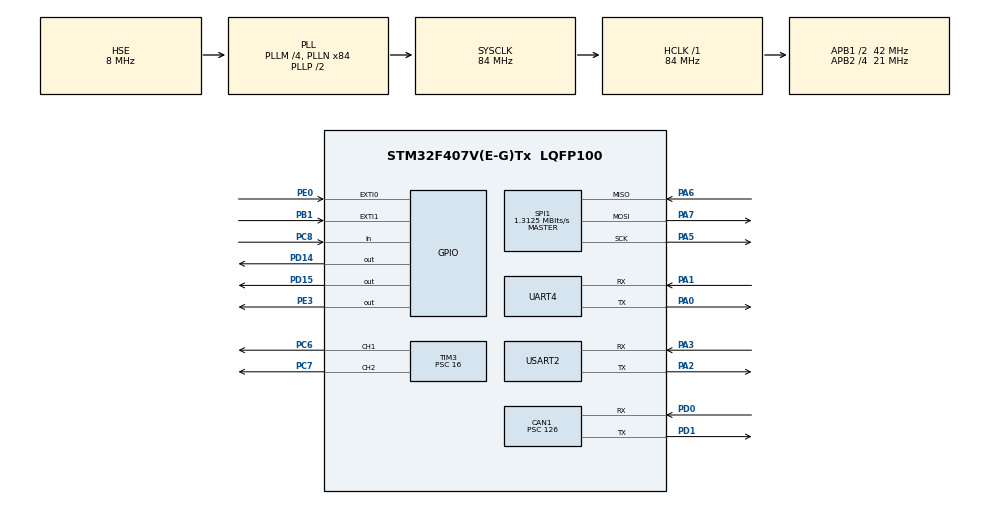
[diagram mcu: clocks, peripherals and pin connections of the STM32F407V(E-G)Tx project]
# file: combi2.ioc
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CAN1.BS1=CAN_BS1_12TQ
CAN1.BS2=CAN_BS2_4TQ
CAN1.CalculateTimeQuantum=3000.0
CAN1.Prescaler=126
Dma.Request0=USART2_RX
Dma.Request1=USART2_TX
Dma.Request2=UART4_RX
Dma.Request3=UART4_TX
Dma.UART4_RX.2.Direction=DMA_PERIPH_TO_MEMORY
Dma.UART4_RX.2.FIFOMode=DMA_FIFOMODE_DISABLE
Dma.UART4_RX.2.Instance=DMA1_Stream2
Dma.UART4_RX.2.MemDataAlignment=DMA_MDATAALIGN_BYTE
Dma.UART4_RX.2.MemInc=DMA_MINC_ENABLE
Dma.UART4_RX.2.Mode=DMA_NORMAL
Dma.UART4_RX.2.PeriphDataAlignment=DMA_PDATAALIGN_BYTE
Dma.UART4_RX.2.PeriphInc=DMA_PINC_DISABLE
Dma.UART4_RX.2.Priority=DMA_PRIORITY_LOW
Dma.UART4_TX.3.Direction=DMA_MEMORY_TO_PERIPH
Dma.UART4_TX.3.FIFOMode=DMA_FIFOMODE_DISABLE
Dma.UART4_TX.3.Instance=DMA1_Stream4
Dma.UART4_TX.3.MemDataAlignment=DMA_MDATAALIGN_BYTE
Dma.UART4_TX.3.MemInc=DMA_MINC_ENABLE
Dma.UART4_TX.3.Mode=DMA_NORMAL
Dma.UART4_TX.3.PeriphDataAlignment=DMA_PDATAALIGN_BYTE
Dma.UART4_TX.3.PeriphInc=DMA_PINC_DISABLE
Dma.UART4_TX.3.Priority=DMA_PRIORITY_LOW
Dma.USART2_RX.0.Direction=DMA_PERIPH_TO_MEMORY
Dma.USART2_RX.0.FIFOMode=DMA_FIFOMODE_DISABLE
Dma.USART2_RX.0.Instance=DMA1_Stream5
Dma.USART2_RX.0.MemDataAlignment=DMA_MDATAALIGN_BYTE
Dma.USART2_RX.0.MemInc=DMA_MINC_ENABLE
Dma.USART2_RX.0.Mode=DMA_NORMAL
Dma.USART2_RX.0.PeriphDataAlignment=DMA_PDATAALIGN_BYTE
Dma.USART2_RX.0.PeriphInc=DMA_PINC_DISABLE
Dma.USART2_RX.0.Priority=DMA_PRIORITY_LOW
Dma.USART2_TX.1.Direction=DMA_MEMORY_TO_PERIPH
Dma.USART2_TX.1.FIFOMode=DMA_FIFOMODE_DISABLE
Dma.USART2_TX.1.Instance=DMA1_Stream6
Dma.USART2_TX.1.MemDataAlignment=DMA_MDATAALIGN_BYTE
Dma.USART2_TX.1.MemInc=DMA_MINC_ENABLE
Dma.USART2_TX.1.Mode=DMA_NORMAL
Dma.USART2_TX.1.PeriphDataAlignment=DMA_PDATAALIGN_BYTE
Dma.USART2_TX.1.PeriphInc=DMA_PINC_DISABLE
Dma.USART2_TX.1.Priority=DMA_PRIORITY_LOW
FREERTOS.Tasks01=DefaultTask,24,128,StartDefaultTask,Default,NULL,Dynamic,NULL,NULL;SPI_Task,8,128,StartTask02,Default,NULL,Dynamic,NULL,NULL;Can_Tx,8,128,StartTask03,Default,NULL,Dynamic,NULL,NULL
FREERTOS.Timers01=myTimer01,Callback01,osTimerPeriodic,Default,NULL,Dynamic,NULL
Mcu.Family=STM32F4
Mcu.Name=STM32F407V(E-G)Tx
Mcu.Package=LQFP100
NVIC.CAN1_RX0_IRQn=true\:5\:0\:false\:false\:true\:true\:true\:true
NVIC.DMA1_Stream2_IRQn=true\:5\:0\:false\:false\:true\:true\:false\:true
NVIC.DMA1_Stream4_IRQn=true\:5\:0\:false\:false\:true\:true\:false\:true
NVIC.DMA1_Stream5_IRQn=true\:5\:0\:false\:false\:true\:true\:false\:true
NVIC.DMA1_Stream6_IRQn=true\:5\:0\:false\:false\:true\:true\:false\:true
NVIC.EXTI0_IRQn=true\:5\:0\:false\:false\:true\:true\:true\:true
NVIC.PriorityGroup=NVIC_PRIORITYGROUP_4
NVIC.TIM1_UP_TIM10_IRQn=true\:0\:0\:false\:false\:true\:false\:false\:true
NVIC.TimeBase=TIM1_UP_TIM10_IRQn
NVIC.TimeBaseIP=TIM1
PA0-WKUP.Mode=Asynchronous
PA0-WKUP.Signal=UART4_TX
PA1.Mode=Asynchronous
PA1.Signal=UART4_RX
PA13.Mode=Serial_Wire
PA13.Signal=SYS_JTMS-SWDIO
PA14.Mode=Serial_Wire
PA14.Signal=SYS_JTCK-SWCLK
PA2.Mode=Asynchronous
PA2.Signal=USART2_TX
PA3.Mode=Asynchronous
PA3.Signal=USART2_RX
PA5.Mode=Full_Duplex_Master
PA5.Signal=SPI1_SCK
PA6.Mode=Full_Duplex_Master
PA6.Signal=SPI1_MISO
PA7.Mode=Full_Duplex_Master
PA7.Signal=SPI1_MOSI
PB1.Signal=GPXTI1
PC6.Signal=S_TIM3_CH1
PC7.Signal=S_TIM3_CH2
PC8.Signal=GPIO_Input
PD0.Mode=Master
PD0.Signal=CAN1_RX
PD1.Mode=Master
PD1.Signal=CAN1_TX
PD14.Signal=GPIO_Output
PD15.Signal=GPIO_Output
PE0.Signal=GPXTI0
PE3.Signal=GPIO_Output
PH0-OSC_IN.Mode=HSE-External-Oscillator
PH0-OSC_IN.Signal=RCC_OSC_IN
PH1-OSC_OUT.Mode=HSE-External-Oscillator
PH1-OSC_OUT.Signal=RCC_OSC_OUT
ProjectManager.HeapSize=0x200
ProjectManager.StackSize=0x400
ProjectManager.TargetToolchain=TrueSTUDIO
RCC.48MHZClocksFreq_Value=24000000
RCC.AHBFreq_Value=84000000
RCC.APB1CLKDivider=RCC_HCLK_DIV2
RCC.APB1Freq_Value=42000000
RCC.APB1TimFreq_Value=84000000
RCC.APB2CLKDivider=RCC_HCLK_DIV4
RCC.APB2Freq_Value=21000000
RCC.APB2TimFreq_Value=42000000
RCC.CortexFreq_Value=84000000
RCC.HCLKFreq_Value=84000000
RCC.HSE_VALUE=8000000
RCC.HSI_VALUE=16000000
RCC.LSE_VALUE=32768
RCC.PLLM=4
RCC.PLLN=84
RCC.PLLQ=7
RCC.PLLSourceVirtual=RCC_PLLSOURCE_HSE
RCC.SYSCLKFreq_VALUE=84000000
RCC.SYSCLKSource=RCC_SYSCLKSOURCE_PLLCLK
RCC.VCOOutputFreq_Value=168000000
SH.S_TIM3_CH1.0=TIM3_CH1,PWM Generation1 CH1
SH.S_TIM3_CH2.0=TIM3_CH2,PWM Generation2 CH2
SPI1.BaudRatePrescaler=SPI_BAUDRATEPRESCALER_16
SPI1.CalculateBaudRate=1.3125 MBits/s
SPI1.Direction=SPI_DIRECTION_2LINES
SPI1.Mode=SPI_MODE_MASTER
SPI1.VirtualType=VM_MASTER
TIM3.Channel-PWM\ Generation1\ CH1=TIM_CHANNEL_1
TIM3.Channel-PWM\ Generation2\ CH2=TIM_CHANNEL_2
TIM3.OCPolarity_2=TIM_OCPOLARITY_LOW
TIM3.Period=100
TIM3.Prescaler=16
TIM3.Pulse-PWM\ Generation1\ CH1=50
TIM3.Pulse-PWM\ Generation2\ CH2=50
UART4.StopBits=UART_STOPBITS_2
UART4.VirtualMode=Asynchronous
USART2.StopBits=STOPBITS_2
USART2.VirtualMode=VM_ASYNC
VP_FREERTOS_VS_CMSIS_V2.Mode=CMSIS_V2
VP_SYS_VS_tim1.Mode=TIM1
VP_TIM3_VS_ClockSourceINT.Mode=Internal
board=STM32F407G-DISC1

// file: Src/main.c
/* USER CODE BEGIN Header */
/**
  ******************************************************************************
  * @file           : main.c
  * @brief          : Main program body
  ******************************************************************************
  * @attention
  *
  * <h2><center>&copy; Copyright (c) 2020 STMicroelectronics.
  * All rights reserved.</center></h2>
  *
  * This software component is licensed by ST under Ultimate Liberty license
  * SLA0044, the "License"; You may not use this file except in compliance with
  * the License. You may obtain a copy of the License at:
  *                             www.st.com/SLA0044
  *
  ******************************************************************************
  */
/* USER CODE END Header */

#include "main.h"
#include "cmsis_os.h"
#include "stm32f4xx_hal.h"
#include "string.h"
#include "stdio.h"
#include "task.h"

CAN_HandleTypeDef hcan1;

SPI_HandleTypeDef hspi1;

TIM_HandleTypeDef htim3;

UART_HandleTypeDef huart4;
UART_HandleTypeDef huart2;
DMA_HandleTypeDef hdma_uart4_rx;
DMA_HandleTypeDef hdma_uart4_tx;
DMA_HandleTypeDef hdma_usart2_rx;
DMA_HandleTypeDef hdma_usart2_tx;

/* Definitions for DefaultTask
osThreadId_t DefaultTaskHandle;
const osThreadAttr_t DefaultTask_attributes = {
  .name = "DefaultTask",
  .priority = (osPriority_t) osPriorityNormal,
  .stack_size = 128
};*/
/* Definitions for SPI_Task */
osThreadId_t SPI_TaskHandle;
const osThreadAttr_t SPI_Task_attributes = {
  .name = "SPI_Task",
  .priority = (osPriority_t) osPriorityNormal,
  .stack_size = 128
};
/* Definitions for Can_Tx
osThreadId_t Can_TxHandle;
const osThreadAttr_t Can_Tx_attributes = {
  .name = "Can_Tx",
  .priority = (osPriority_t) osPriorityNormal,
  .stack_size = 128
};*/
/* Definitions for myTimer01 */
osTimerId_t myTimer01Handle;
const osTimerAttr_t myTimer01_attributes = {
  .name = "myTimer01"
};
/* USER CODE BEGIN PV */
uint8_t x=0,spiTxbuff[2],spiRxbuff[2];
char msg[23];
char RxData[2];
char TxData[2];
uint32_t TxMailbox;
uint8_t spiRx_x[2],spiRx_y[2],spiRx_z[2];

/* USER CODE END PV */

void SystemClock_Config(void);
static void MX_GPIO_Init(void);
static void MX_DMA_Init(void);
static void MX_SPI1_Init(void);
static void MX_TIM3_Init(void);
static void MX_USART2_UART_Init(void);
static void MX_CAN1_Init(void);
static void MX_UART4_Init(void);
void CAN1_RX0_IRQHandler(void);
//void StartDefaultTask(void *argument);
void StartTask02(void *argument);
//void StartTask03(void *argument);
void Callback01(void *argument);

/* USER CODE BEGIN 0 */
char temp[10];
char IR_data[10];
//static CAN_TxHeaderTypeDef TxHeader;
CAN_RxHeaderTypeDef RxHeader;
CAN_FilterTypeDef   sFilterConfig;
static TaskHandle_t xTaskToNotify = NULL;
//uint8_t ;
/* USER CODE END 0 */

int main(void)
{

  /* MCU Configuration--------------------------------------------------------*/

  /* Reset of all peripherals, Initializes the Flash interface and the Systick. */
  HAL_Init();

  /* Configure the system clock */
  SystemClock_Config();

  /* Initialize all configured peripherals */
  MX_GPIO_Init();
  MX_DMA_Init();
  MX_SPI1_Init();
  MX_TIM3_Init();
  MX_USART2_UART_Init();
  MX_CAN1_Init();
  MX_UART4_Init();
  /* USER CODE BEGIN 2 */
  HAL_UART_Transmit(&huart4,(uint8_t*)"Real Time Accident Alert System\r\n",32,10);

  /* USER CODE END 2 */
  /* Init scheduler */
  osKernelInitialize();

  /* Create the timer(s) */
  /* creation of myTimer01 */
  myTimer01Handle = osTimerNew(Callback01, osTimerPeriodic, NULL, &myTimer01_attributes);

  /* Create the thread(s) */
  /* creation of DefaultTask */
  //DefaultTaskHandle = osThreadNew(StartDefaultTask, NULL, &DefaultTask_attributes);

  /* creation of SPI_Task */
  SPI_TaskHandle = osThreadNew(StartTask02, NULL, &SPI_Task_attributes);

  /* creation of Can_Tx */
 // Can_TxHandle = osThreadNew(StartTask03, NULL, &Can_Tx_attributes);

  /* Start scheduler */
  osKernelStart();

  /* We should never get here as control is now taken by the scheduler */

  /* Infinite loop */
  while (1)
  {

  }
}

void SystemClock_Config(void)
{
  RCC_OscInitTypeDef RCC_OscInitStruct = {0};
  RCC_ClkInitTypeDef RCC_ClkInitStruct = {0};

  /** Configure the main internal regulator output voltage
  */
  __HAL_RCC_PWR_CLK_ENABLE();
  __HAL_PWR_VOLTAGESCALING_CONFIG(PWR_REGULATOR_VOLTAGE_SCALE1);
  /** Initializes the CPU, AHB and APB busses clocks
  */
  RCC_OscInitStruct.OscillatorType = RCC_OSCILLATORTYPE_HSE;
  RCC_OscInitStruct.HSEState = RCC_HSE_ON;
  RCC_OscInitStruct.PLL.PLLState = RCC_PLL_ON;
  RCC_OscInitStruct.PLL.PLLSource = RCC_PLLSOURCE_HSE;
  RCC_OscInitStruct.PLL.PLLM = 4;
  RCC_OscInitStruct.PLL.PLLN = 84;
  RCC_OscInitStruct.PLL.PLLP = RCC_PLLP_DIV2;
  RCC_OscInitStruct.PLL.PLLQ = 7;
  if (HAL_RCC_OscConfig(&RCC_OscInitStruct) != HAL_OK)
  {
    Error_Handler();
  }
  /** Initializes the CPU, AHB and APB busses clocks
  */
  RCC_ClkInitStruct.ClockType = RCC_CLOCKTYPE_HCLK|RCC_CLOCKTYPE_SYSCLK
                              |RCC_CLOCKTYPE_PCLK1|RCC_CLOCKTYPE_PCLK2;
  RCC_ClkInitStruct.SYSCLKSource = RCC_SYSCLKSOURCE_PLLCLK;
  RCC_ClkInitStruct.AHBCLKDivider = RCC_SYSCLK_DIV1;
  RCC_ClkInitStruct.APB1CLKDivider = RCC_HCLK_DIV2;
  RCC_ClkInitStruct.APB2CLKDivider = RCC_HCLK_DIV4;

  if (HAL_RCC_ClockConfig(&RCC_ClkInitStruct, FLASH_LATENCY_2) != HAL_OK)
  {
    Error_Handler();
  }
}

static void MX_CAN1_Init(void)
{

  hcan1.Instance = CAN1;
  hcan1.Init.Prescaler = 126;
  hcan1.Init.Mode = CAN_MODE_NORMAL;
  hcan1.Init.SyncJumpWidth = CAN_SJW_1TQ;
  hcan1.Init.TimeSeg1 = CAN_BS1_12TQ;
  hcan1.Init.TimeSeg2 = CAN_BS2_4TQ;
  hcan1.Init.TimeTriggeredMode = DISABLE;
  hcan1.Init.AutoBusOff = DISABLE;
  hcan1.Init.AutoWakeUp = DISABLE;
  hcan1.Init.AutoRetransmission = DISABLE;
  hcan1.Init.ReceiveFifoLocked = DISABLE;
  hcan1.Init.TransmitFifoPriority = DISABLE;
  if (HAL_CAN_Init(&hcan1) != HAL_OK)
  {
    Error_Handler();
  }
  /* USER CODE BEGIN CAN1_Init 2 */
  CAN_FilterTypeDef can1_filter_init;

  	can1_filter_init.FilterActivation = ENABLE;
  	can1_filter_init.FilterBank = 0;
  	can1_filter_init.FilterFIFOAssignment = CAN_RX_FIFO0;
  	can1_filter_init.FilterIdHigh=0x0000;
  	can1_filter_init.FilterIdLow = 0x0000;
  	can1_filter_init.FilterMaskIdHigh = 0x0000;
  	can1_filter_init.FilterMaskIdLow=0x0000;
  	can1_filter_init.FilterMode = CAN_FILTERMODE_IDMASK;
  	can1_filter_init.FilterScale = CAN_FILTERSCALE_32BIT;

  	if(HAL_CAN_ConfigFilter(&hcan1,&can1_filter_init)!=HAL_OK)
  	{
  		Error_Handler();
  	}
  	if(HAL_CAN_Start(&hcan1)!=HAL_OK){

  	  			Error_Handler();

  	  		}
  	  if(HAL_CAN_ActivateNotification(&hcan1,CAN_IT_RX_FIFO0_MSG_PENDING)!= HAL_OK)
  	      	{
  	      			Error_Handler();
  	      	}
	/*if(HAL_CAN_ActivateNotification(&hcan1,CAN_IT_TX_MAILBOX_EMPTY|CAN_IT_RX_FIFO0_MSG_PENDING|CAN_IT_BUSOFF) != HAL_OK)
{
		Error_Handler();
}*/

  /* USER CODE END CAN1_Init 2 */

}

static void MX_SPI1_Init(void)
{

  /* SPI1 parameter configuration*/
  hspi1.Instance = SPI1;
  hspi1.Init.Mode = SPI_MODE_MASTER;
  hspi1.Init.Direction = SPI_DIRECTION_2LINES;
  hspi1.Init.DataSize = SPI_DATASIZE_8BIT;
  hspi1.Init.CLKPolarity = SPI_POLARITY_LOW;
  hspi1.Init.CLKPhase = SPI_PHASE_1EDGE;
  hspi1.Init.NSS = SPI_NSS_SOFT;
  hspi1.Init.BaudRatePrescaler = SPI_BAUDRATEPRESCALER_16;
  hspi1.Init.FirstBit = SPI_FIRSTBIT_MSB;
  hspi1.Init.TIMode = SPI_TIMODE_DISABLE;
  hspi1.Init.CRCCalculation = SPI_CRCCALCULATION_DISABLE;
  hspi1.Init.CRCPolynomial = 10;
  if (HAL_SPI_Init(&hspi1) != HAL_OK)
  {
    Error_Handler();
  }

}

static void MX_TIM3_Init(void)
{

  TIM_ClockConfigTypeDef sClockSourceConfig = {0};
  TIM_MasterConfigTypeDef sMasterConfig = {0};
  TIM_OC_InitTypeDef sConfigOC = {0};

  htim3.Instance = TIM3;
  htim3.Init.Prescaler = 16;
  htim3.Init.CounterMode = TIM_COUNTERMODE_UP;
  htim3.Init.Period = 100;
  htim3.Init.ClockDivision = TIM_CLOCKDIVISION_DIV1;
  htim3.Init.AutoReloadPreload = TIM_AUTORELOAD_PRELOAD_DISABLE;
  if (HAL_TIM_Base_Init(&htim3) != HAL_OK)
  {
    Error_Handler();
  }
  sClockSourceConfig.ClockSource = TIM_CLOCKSOURCE_INTERNAL;
  if (HAL_TIM_ConfigClockSource(&htim3, &sClockSourceConfig) != HAL_OK)
  {
    Error_Handler();
  }
  if (HAL_TIM_PWM_Init(&htim3) != HAL_OK)
  {
    Error_Handler();
  }
  sMasterConfig.MasterOutputTrigger = TIM_TRGO_RESET;
  sMasterConfig.MasterSlaveMode = TIM_MASTERSLAVEMODE_DISABLE;
  if (HAL_TIMEx_MasterConfigSynchronization(&htim3, &sMasterConfig) != HAL_OK)
  {
    Error_Handler();
  }
  sConfigOC.OCMode = TIM_OCMODE_PWM1;
  sConfigOC.Pulse = 50;
  sConfigOC.OCPolarity = TIM_OCPOLARITY_HIGH;
  sConfigOC.OCFastMode = TIM_OCFAST_DISABLE;
  if (HAL_TIM_PWM_ConfigChannel(&htim3, &sConfigOC, TIM_CHANNEL_1) != HAL_OK)
  {
    Error_Handler();
  }
  sConfigOC.OCPolarity = TIM_OCPOLARITY_LOW;
  if (HAL_TIM_PWM_ConfigChannel(&htim3, &sConfigOC, TIM_CHANNEL_2) != HAL_OK)
  {
    Error_Handler();
  }
  HAL_TIM_MspPostInit(&htim3);

}

static void MX_UART4_Init(void)
{

  huart4.Instance = UART4;
  huart4.Init.BaudRate = 115200;
  huart4.Init.WordLength = UART_WORDLENGTH_8B;
  huart4.Init.StopBits = UART_STOPBITS_2;
  huart4.Init.Parity = UART_PARITY_NONE;
  huart4.Init.Mode = UART_MODE_TX_RX;
  huart4.Init.HwFlowCtl = UART_HWCONTROL_NONE;
  huart4.Init.OverSampling = UART_OVERSAMPLING_16;
  if (HAL_UART_Init(&huart4) != HAL_OK)
  {
    Error_Handler();
  }

}

static void MX_USART2_UART_Init(void)
{

  huart2.Instance = USART2;
  huart2.Init.BaudRate = 115200;
  huart2.Init.WordLength = UART_WORDLENGTH_8B;
  huart2.Init.StopBits = UART_STOPBITS_2;
  huart2.Init.Parity = UART_PARITY_NONE;
  huart2.Init.Mode = UART_MODE_TX_RX;
  huart2.Init.HwFlowCtl = UART_HWCONTROL_NONE;
  huart2.Init.OverSampling = UART_OVERSAMPLING_16;
  if (HAL_UART_Init(&huart2) != HAL_OK)
  {
    Error_Handler();
  }

}

static void MX_DMA_Init(void)
{

  /* DMA controller clock enable */
  __HAL_RCC_DMA1_CLK_ENABLE();

  /* DMA interrupt init */
  /* DMA1_Stream2_IRQn interrupt configuration */
  HAL_NVIC_SetPriority(DMA1_Stream2_IRQn, 5, 0);
  HAL_NVIC_EnableIRQ(DMA1_Stream2_IRQn);
  /* DMA1_Stream4_IRQn interrupt configuration */
  HAL_NVIC_SetPriority(DMA1_Stream4_IRQn, 5, 0);
  HAL_NVIC_EnableIRQ(DMA1_Stream4_IRQn);
  /* DMA1_Stream5_IRQn interrupt configuration */
  HAL_NVIC_SetPriority(DMA1_Stream5_IRQn, 5, 0);
  HAL_NVIC_EnableIRQ(DMA1_Stream5_IRQn);
  /* DMA1_Stream6_IRQn interrupt configuration */
  HAL_NVIC_SetPriority(DMA1_Stream6_IRQn, 5, 0);
  HAL_NVIC_EnableIRQ(DMA1_Stream6_IRQn);

}

static void MX_GPIO_Init(void)
{
  GPIO_InitTypeDef GPIO_InitStruct = {0};

  /* GPIO Ports Clock Enable */
  __HAL_RCC_GPIOE_CLK_ENABLE();
  __HAL_RCC_GPIOH_CLK_ENABLE();
  __HAL_RCC_GPIOA_CLK_ENABLE();
  __HAL_RCC_GPIOB_CLK_ENABLE();
  __HAL_RCC_GPIOD_CLK_ENABLE();
  __HAL_RCC_GPIOC_CLK_ENABLE();

  /*Configure GPIO pin Output Level */
  HAL_GPIO_WritePin(GPIOE, GPIO_PIN_3, GPIO_PIN_RESET);

  /*Configure GPIO pin Output Level */
  HAL_GPIO_WritePin(GPIOD, GPIO_PIN_14|GPIO_PIN_15, GPIO_PIN_RESET);

  /*Configure GPIO pin : PE3 */
  GPIO_InitStruct.Pin = GPIO_PIN_3;
  GPIO_InitStruct.Mode = GPIO_MODE_OUTPUT_PP;
  GPIO_InitStruct.Pull = GPIO_NOPULL;
  GPIO_InitStruct.Speed = GPIO_SPEED_FREQ_LOW;
  HAL_GPIO_Init(GPIOE, &GPIO_InitStruct);

  /*Configure GPIO pin : PB1 */
  GPIO_InitStruct.Pin = GPIO_PIN_1;
  GPIO_InitStruct.Mode = GPIO_MODE_IT_RISING;
  GPIO_InitStruct.Pull = GPIO_NOPULL;
  HAL_GPIO_Init(GPIOB, &GPIO_InitStruct);

  /*Configure GPIO pins : PD14 PD15 */
  GPIO_InitStruct.Pin = GPIO_PIN_14|GPIO_PIN_15;
  GPIO_InitStruct.Mode = GPIO_MODE_OUTPUT_PP;
  GPIO_InitStruct.Pull = GPIO_NOPULL;
  GPIO_InitStruct.Speed = GPIO_SPEED_FREQ_LOW;
  HAL_GPIO_Init(GPIOD, &GPIO_InitStruct);

  /*Configure GPIO pin : PC8 */
  GPIO_InitStruct.Pin = GPIO_PIN_8;
  GPIO_InitStruct.Mode = GPIO_MODE_INPUT;
  GPIO_InitStruct.Pull = GPIO_NOPULL;
  HAL_GPIO_Init(GPIOC, &GPIO_InitStruct);

  /*Configure GPIO pin : PE0 */
  GPIO_InitStruct.Pin = GPIO_PIN_0;
  GPIO_InitStruct.Mode = GPIO_MODE_IT_RISING;
  GPIO_InitStruct.Pull = GPIO_NOPULL;
  HAL_GPIO_Init(GPIOE, &GPIO_InitStruct);

  /* EXTI interrupt init*/
  HAL_NVIC_SetPriority(EXTI0_IRQn, 5, 0);
  HAL_NVIC_EnableIRQ(EXTI0_IRQn);

}

/*void StartDefaultTask(void *argument)
{
   USER CODE BEGIN 5
	for(;;)
	  {
	    osDelay(1);
	  }
}*/

void StartTask02(void *argument)
{
  /* USER CODE BEGIN StartTask02 */
  /* Infinite loop */

  TickType_t xLastWakeTime;
  			xLastWakeTime = xTaskGetTickCount();

  			const TickType_t xPeriod = pdMS_TO_TICKS( 1000 );
  	HAL_UART_Transmit(&huart4,(uint8_t*)"In SPI\r\n",6,10);
    /* Infinite loop */
    for(;;)
    {
  	  HAL_GPIO_WritePin(GPIOE,GPIO_PIN_3,GPIO_PIN_RESET);//>bring slave select low

  	  	  			spiTxbuff[0]=0x20;//2.transmit register+data
  	  	  			spiTxbuff[1]=0x17;
  	  	  			HAL_SPI_Transmit(&hspi1,spiTxbuff,2,50);

  	  	  		HAL_GPIO_WritePin(GPIOE,GPIO_PIN_3,GPIO_PIN_SET );	//3. Bring slave select high

  	  	  //***SPI RECIEVE //

  	  	  HAL_GPIO_WritePin(GPIOE,GPIO_PIN_3,GPIO_PIN_RESET);//1.bring slave select low

  	  	  		spiTxbuff[0]=0x20|0x80;//2.Transmit Register + 0x80 (to set msb for read mode )
  	  	  		HAL_SPI_Transmit(&hspi1,spiTxbuff,1,50);
  	  	  		HAL_SPI_Receive(&hspi1,spiRxbuff,1,50);

  	  	  		HAL_GPIO_WritePin(GPIOE,GPIO_PIN_3,GPIO_PIN_SET );

  	  	  				HAL_GPIO_WritePin(GPIOE,GPIO_PIN_3,GPIO_PIN_RESET);
  	  	  				spiTxbuff[0]=0x29|0x80;
  	  	  				HAL_SPI_Transmit(&hspi1,spiTxbuff,1,50);
  	  	  				HAL_SPI_Receive(&hspi1,spiRx_x,1,50);
  	  	  				//HAL_UART_Transmit(&huart2,(uint8_t *)spiRxbuff_x,5,20);
  	  	  				HAL_GPIO_WritePin(GPIOE,GPIO_PIN_3,GPIO_PIN_SET);
  	  	  				HAL_Delay(10);

  	  	  				HAL_GPIO_WritePin(GPIOE,GPIO_PIN_3,GPIO_PIN_RESET);
  	  	  				spiTxbuff[0]=0x2B|0x80;
  	  	  				HAL_SPI_Transmit(&hspi1,spiTxbuff,1,50);
  	  	  				HAL_SPI_Receive(&hspi1,spiRx_y,1,50);
  	  	  				HAL_GPIO_WritePin(GPIOE,GPIO_PIN_3,GPIO_PIN_SET);
  	  	  				//HAL_UART_Transmit(&huart2,(uint8_t *)spiRxbuff_y,5,20);
  	  	  				HAL_Delay(10);

  	  	  				HAL_GPIO_WritePin(GPIOE,GPIO_PIN_3,GPIO_PIN_RESET);
  	  	  				spiTxbuff[0]=0x2D|0x80;
  	  	  				HAL_SPI_Transmit(&hspi1,spiTxbuff,1,50);
  	  	  				HAL_SPI_Receive(&hspi1,spiRx_z,1,50);
  	  	  				HAL_GPIO_WritePin(GPIOE,GPIO_PIN_3,GPIO_PIN_SET);

  	  	  				//taskYIELD();
  	  	  				vTaskDelayUntil( &xLastWakeTime, xPeriod );
    }
    /* USER CODE END 5 */
  /* USER CODE END StartTask02 */
}

/*
void StartTask03(void *argument)
{
   USER CODE BEGIN StartTask03
			TickType_t xLastWakeTime;
			xLastWakeTime = xTaskGetTickCount();

			const TickType_t xPeriod = pdMS_TO_TICKS( 1000 );
			HAL_UART_Transmit(&huart2,"In CAN\r\n",12,10);
	   Infinite loop
	  for(;;)
	  {
		  //HAL_UART_Transmit(&huart2,"Start CAN",9,10);
		  HAL_GPIO_TogglePin(GPIOD,GPIO_PIN_12);
		  	HAL_Delay(500);
		  	TxHeader.DLC=2;
		  	TxHeader.StdId=0x65D;
		  	TxHeader.IDE=CAN_ID_STD;
		  	TxHeader.RTR=CAN_RTR_DATA;
			  TxData[0]=0;
			  TxData[1]=1;
		  	if(HAL_CAN_AddTxMessage(&hcan1,&TxHeader,TxData,&TxMailbox)!=HAL_OK){
		  	 Error_Handler();
		  	}
		  	//while(HAL_CAN_IsTxMessagePending(&hcan1,TxMailbox));
		  	while(HAL_CAN_GetTxMailboxesFreeLevel(&hcan1) != 3);

		  	HAL_UART_Transmit(&huart2,"Transmitted\r\n",12,10);

		  	vTaskDelayUntil( &xLastWakeTime, xPeriod);

	  }
   USER CODE END StartTask03
}
*/

void HAL_CAN_RxFifo0MsgPendingCallback(CAN_HandleTypeDef *hcan)
{

//void CAN1_RX0_IRQHandler(void)
	//{
	 // HAL_CAN_IRQHandler(&hcan1);

	HAL_UART_Transmit(&huart4,(uint8_t*)"In CAN Rx\r\n",12,10);
	if(HAL_CAN_GetRxMessage(hcan,CAN_RX_FIFO0,&RxHeader,(uint8_t*)RxData) != HAL_OK)
	{

		Error_Handler();
	}
	HAL_UART_Transmit(&huart4,(uint8_t*)"In CAN Rx1\r\n",13,10);
			//temp=RxData[0];
			sprintf(temp,"temp=%u",RxData[0]);
			sprintf(IR_data,"IR_data=%u",RxData[1]);
		  	HAL_UART_Transmit(&huart4,(uint8_t*)IR_data,strlen(IR_data),10);
		  	HAL_UART_Transmit(&huart4,(uint8_t*)temp,strlen(temp),10);

		  sprintf(msg,"Data Received %s\n\r",RxData); // it is behaving like a concatination function
		  HAL_UART_Transmit(&huart4,(uint8_t*)msg,15,10);  // put 3rd perameter carefully bcs its taking CAN DATA
		 // HAL_UART_Transmit(&huart2,"2",1,10);			// as well as predefind data tha you added in above instruction
		  if(IR_data[0] == 1 && RxData[0] > 40){
		  		   //vTaskDelayUntil( &xLastWakeTime, xPeriod );
		  		   if(spiRx_x[0] > 0 && spiRx_y[0] > 180 && spiRx_z[0] > 150){
		  			 //  	   HAL_UART_Transmit(&huart4,(uint8_t*)"1",1,10);
		  		   }
	  }
	//HAL_GPIO_TogglePin(GPIOD, GPIO_PIN_14);    //just check t transmission
	vTaskNotifyGiveFromISR(xTaskToNotify,NULL);        // &xHigherPriorityTaskWoken
}
/* Callback01 function */
void Callback01(void *argument)
{
}

void HAL_TIM_PeriodElapsedCallback(TIM_HandleTypeDef *htim)
{
  if (htim->Instance == TIM1) {
    HAL_IncTick();
  }
}

void Error_Handler(void)
{
	//HAL_UART_Transmit(&huart4,"In ErrorRx\r\n",12,10);
  /* USER CODE BEGIN Error_Handler_Debug */
  /* User can add his own implementation to report the HAL error return state */
  while(1);

  /* USER CODE END Error_Handler_Debug */
}

/************************ (C) COPYRIGHT STMicroelectronics *****END OF FILE****/
